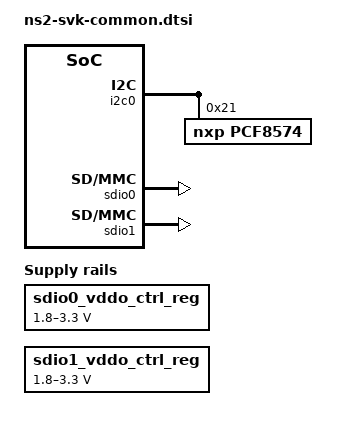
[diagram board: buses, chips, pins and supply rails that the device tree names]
/*
 *  BSD LICENSE
 *
 *  Copyright(c) 2017 Broadcom.  All rights reserved.
 *
 *  Redistribution and use in source and binary forms, with or without
 *  modification, are permitted provided that the following conditions
 *  are met:
 *
 *    * Redistributions of source code must retain the above copyright
 *      notice, this list of conditions and the following disclaimer.
 *    * Redistributions in binary form must reproduce the above copyright
 *      notice, this list of conditions and the following disclaimer in
 *      the documentation and/or other materials provided with the
 *      distribution.
 *    * Neither the name of Broadcom nor the names of its
 *      contributors may be used to endorse or promote products derived
 *      from this software without specific prior written permission.
 *
 *  THIS SOFTWARE IS PROVIDED BY THE COPYRIGHT HOLDERS AND CONTRIBUTORS
 *  "AS IS" AND ANY EXPRESS OR IMPLIED WARRANTIES, INCLUDING, BUT NOT
 *  LIMITED TO, THE IMPLIED WARRANTIES OF MERCHANTABILITY AND FITNESS FOR
 *  A PARTICULAR PURPOSE ARE DISCLAIMED. IN NO EVENT SHALL THE COPYRIGHT
 *  OWNER OR CONTRIBUTORS BE LIABLE FOR ANY DIRECT, INDIRECT, INCIDENTAL,
 *  SPECIAL, EXEMPLARY, OR CONSEQUENTIAL DAMAGES (INCLUDING, BUT NOT
 *  LIMITED TO, PROCUREMENT OF SUBSTITUTE GOODS OR SERVICES; LOSS OF USE,
 *  DATA, OR PROFITS; OR BUSINESS INTERRUPTION) HOWEVER CAUSED AND ON ANY
 *  THEORY OF LIABILITY, WHETHER IN CONTRACT, STRICT LIABILITY, OR TORT
 *  (INCLUDING NEGLIGENCE OR OTHERWISE) ARISING IN ANY WAY OUT OF THE USE
 *  OF THIS SOFTWARE, EVEN IF ADVISED OF THE POSSIBILITY OF SUCH DAMAGE.
 */

/ {
	sdio0_vddo_ctrl_reg: sdio0_vddo_ctrl {
		compatible = "regulator-gpio";
		regulator-name = "sdio0_vddo_ctrl_reg";
		regulator-type = "voltage";
		regulator-min-microvolt = <1800000>;
		regulator-max-microvolt = <3300000>;
		gpios = <&pcf8574 6 0>;
		states = <3300000 0x1
			  1800000 0x0>;
	};

	sdio1_vddo_ctrl_reg: sdio1_vddo_ctrl {
		compatible = "regulator-gpio";
		regulator-name = "sdio1_vddo_ctrl_reg";
		regulator-type = "voltage";
		regulator-min-microvolt = <1800000>;
		regulator-max-microvolt = <3300000>;
		gpios = <&pcf8574 7 0>;
		states = <3300000 0x1
			  1800000 0x0>;
	};

};

&i2c0 {
	pcf8574: pcf8574@21 {
		compatible = "nxp,pcf8574";
		gpio-controller;
		#gpio-cells = <2>;
		reg = <0x21>;
	};
};

&sdio0 {
	vqmmc-supply = <&sdio0_vddo_ctrl_reg>;
	status = "okay";
};

&sdio1 {
	vqmmc-supply = <&sdio1_vddo_ctrl_reg>;
	status = "okay";
};

